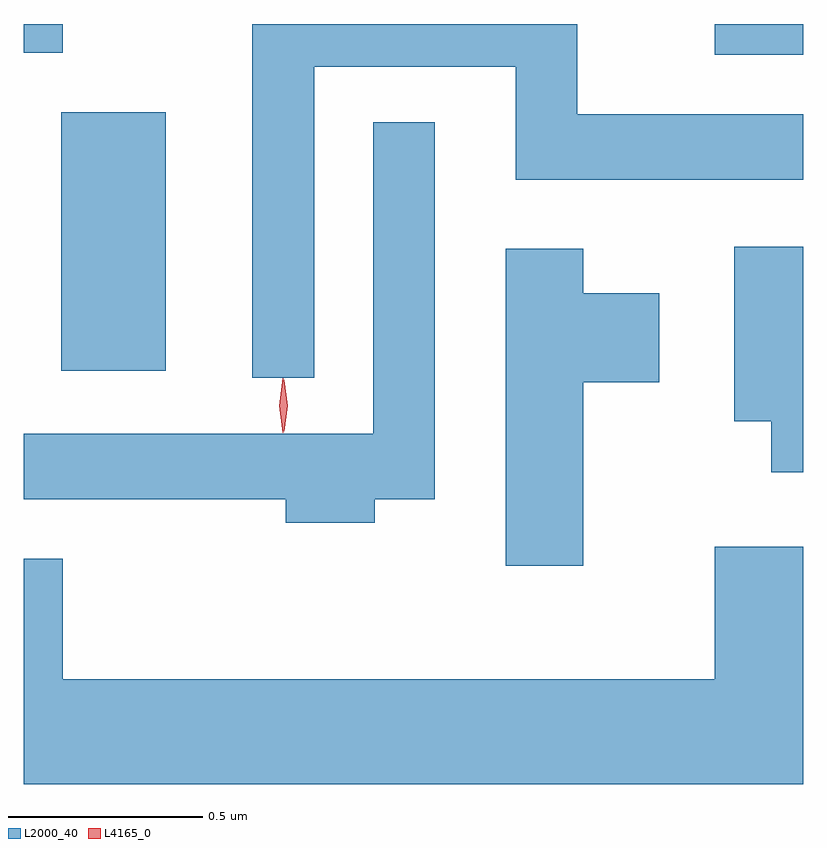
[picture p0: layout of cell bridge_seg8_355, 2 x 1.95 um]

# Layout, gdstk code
import gdstk
lib = gdstk.Library(unit=1e-6, precision=1e-09)
def R(c, l, rs):  # rectangles x0, y0, x1, y1
    for r in rs: c.add(gdstk.rectangle(r[:2], r[2:], *l))
def P(c, l, *ps):  # polygons
    for p in ps: c.add(gdstk.Polygon(p, *l))
L2000_40 = (2000, 40)
L4165_0 = (4165, 0)

bridge_seg8_355 = lib.new_cell('bridge_seg8_355')
R(bridge_seg8_355, L2000_40, [(716.616,1917.396,716.884,1918.059), (718.291,1918.206,718.519,1918.285), (716.519,1918.211,716.619,1918.285)])
P(bridge_seg8_355, L2000_40, [(717.264,1918.176),(717.781,1918.176),(717.781,1917.886),(718.519,1917.886),(718.519,1918.054),(717.939,1918.054),(717.939,1918.285),(717.106,1918.285),(717.106,1917.378),(717.264,1917.378)],
  [(717.419,1917.066),(717.574,1917.066),(717.574,1918.033),(717.416,1918.033),(717.416,1917.234),(716.519,1917.234),(716.519,1917.066),(717.191,1917.066),(717.191,1917.006),(717.419,1917.006)],
  [(718.519,1917.714),(718.341,1917.714),(718.341,1917.266),(718.436,1917.266),(718.436,1917.136),(718.519,1917.136)],
  [(717.954,1917.366),(718.149,1917.366),(718.149,1917.594),(717.954,1917.594),(717.954,1917.709),(717.756,1917.709),(717.756,1916.896),(717.954,1916.896)],
  [(718.519,1916.944),(718.291,1916.944),(718.291,1916.604),(716.619,1916.604),(716.619,1916.914),(716.519,1916.914),(716.519,1916.336),(718.519,1916.336)])
P(bridge_seg8_355, L4165_0, [(717.187,1917.24),(717.187,1917.24),(717.177,1917.306),(717.186,1917.372),(717.187,1917.373),(717.187,1917.372),(717.197,1917.306),(717.188,1917.24)],
  [(717.184,1917.237),(717.175,1917.306),(717.184,1917.376),(717.185,1917.376),(717.185,1917.376),(717.195,1917.306),(717.185,1917.237),(717.185,1917.237)])

lib.write_gds('bridge_seg8_355.gds')
